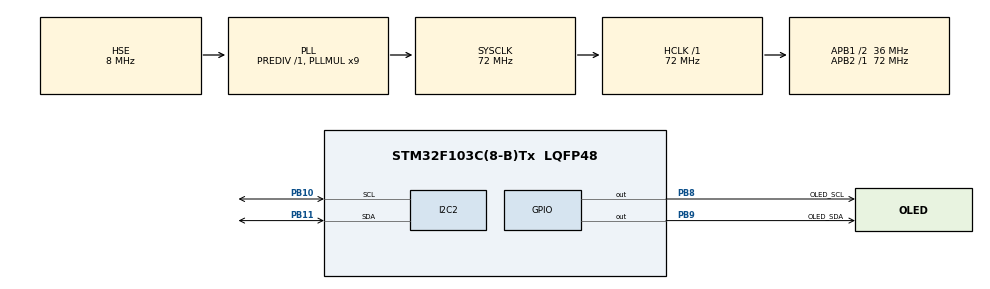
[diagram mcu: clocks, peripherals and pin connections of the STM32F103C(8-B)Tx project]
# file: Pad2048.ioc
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Mcu.Family=STM32F1
Mcu.Name=STM32F103C(8-B)Tx
Mcu.Package=LQFP48
NVIC.PriorityGroup=NVIC_PRIORITYGROUP_4
NVIC.TIM2_IRQn=true\:0\:0\:false\:false\:true\:true\:true\:true
PA0-WKUP.Mode=SYS_WakeUp0
PA0-WKUP.Signal=SYS_WKUP
PA13.Mode=Serial_Wire
PA13.Signal=SYS_JTMS-SWDIO
PA14.Mode=Serial_Wire
PA14.Signal=SYS_JTCK-SWCLK
PB10.Mode=I2C
PB10.Signal=I2C2_SCL
PB11.Mode=I2C
PB11.Signal=I2C2_SDA
PB8.GPIO_Label=OLED_SCL
PB8.GPIO_ModeDefaultOutputPP=GPIO_MODE_OUTPUT_OD
PB8.GPIO_PuPd=GPIO_NOPULL
PB8.Signal=GPIO_Output
PB9.GPIO_Label=OLED_SDA
PB9.GPIO_ModeDefaultOutputPP=GPIO_MODE_OUTPUT_OD
PB9.GPIO_PuPd=GPIO_NOPULL
PB9.Signal=GPIO_Output
PC14-OSC32_IN.Mode=LSE-External-Oscillator
PC14-OSC32_IN.Signal=RCC_OSC32_IN
PC15-OSC32_OUT.Mode=LSE-External-Oscillator
PC15-OSC32_OUT.Signal=RCC_OSC32_OUT
PD0-OSC_IN.Mode=HSE-External-Oscillator
PD0-OSC_IN.Signal=RCC_OSC_IN
PD1-OSC_OUT.Mode=HSE-External-Oscillator
PD1-OSC_OUT.Signal=RCC_OSC_OUT
ProjectManager.HeapSize=0x200
ProjectManager.StackSize=0x400
ProjectManager.TargetToolchain=Makefile
RCC.AHBFreq_Value=72000000
RCC.APB1CLKDivider=RCC_HCLK_DIV2
RCC.APB1Freq_Value=36000000
RCC.APB1TimFreq_Value=72000000
RCC.APB2Freq_Value=72000000
RCC.APB2TimFreq_Value=72000000
RCC.HCLKFreq_Value=72000000
RCC.PLLMUL=RCC_PLL_MUL9
RCC.PLLSourceVirtual=RCC_PLLSOURCE_HSE
RCC.SYSCLKFreq_VALUE=72000000
RCC.SYSCLKSource=RCC_SYSCLKSOURCE_PLLCLK
RCC.USBFreq_Value=72000000
TIM2.Period=10000-1
TIM2.Prescaler=7200-1
VP_TIM2_VS_ClockSourceINT.Mode=Internal
board=custom

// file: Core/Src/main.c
/* USER CODE BEGIN Header */
/**
  ******************************************************************************
  * @file           : main.c
  * @brief          : Main program body
  ******************************************************************************
  * @attention
  *
  * Copyright (c) 2025 STMicroelectronics.
  * All rights reserved.
  *
  * This software is licensed under terms that can be found in the LICENSE file
  * in the root directory of this software component.
  * If no LICENSE file comes with this software, it is provided AS-IS.
  *
  ******************************************************************************
  */
/* USER CODE END Header */
#include "main.h"

/* USER CODE BEGIN Includes */
#include "oled.h"
#include "gyro.h"
#include "game.h"
/* USER CODE END Includes */

I2C_HandleTypeDef hi2c2;

TIM_HandleTypeDef htim2;

/* USER CODE BEGIN PV */

volatile uint32_t G_TICK = 0;
volatile uint8_t COUNTER_DOWN = 60;

/* USER CODE END PV */

void SystemClock_Config(void);
static void MX_GPIO_Init(void);
static void MX_I2C2_Init(void);
static void MX_TIM2_Init(void);
/* USER CODE BEGIN PFP */
void PWR_EnterSTANDBY(void);
/* USER CODE END PFP */

/* USER CODE BEGIN 0 */
void HAL_TIM_PeriodElapsedCallback(TIM_HandleTypeDef *htim)
{
  if (htim == &htim2)
  {
    G_TICK ++;
    COUNTER_DOWN --;
    if (COUNTER_DOWN == 0)
    {
      OLED_Clear();
      PWR_EnterSTANDBY();
    }
  }
}

/* USER CODE END 0 */

int main(void)
{

  /* MCU Configuration--------------------------------------------------------*/

  /* Reset of all peripherals, Initializes the Flash interface and the Systick. */
  HAL_Init();

  /* Configure the system clock */
  SystemClock_Config();

  /* Initialize all configured peripherals */
  MX_GPIO_Init();
  MX_I2C2_Init();
  MX_TIM2_Init();
  /* USER CODE BEGIN 2 */
  OLED_Init();
  // I2C_HandleTypeDef hi2c2;
  Gyro_Init(&hi2c2);
  Game_Ctx *ctx = (Game_Ctx *)malloc(sizeof(Game_Ctx));
  Game_Init(ctx);
  Game_Display(ctx);
  HAL_TIM_Base_Start_IT(&htim2);
  HAL_PWR_EnableWakeUpPin(PWR_WAKEUP_PIN1);
  __HAL_PWR_CLEAR_FLAG(PWR_FLAG_WU);
  /* USER CODE END 2 */

  /* Infinite loop */
  /* USER CODE BEGIN WHILE */
  while (1)
  {

    Game_GenerateNum(ctx);
    Game_Display(ctx);
    int dir = Gyro_GetDir(&hi2c2);
    COUNTER_DOWN = 60;
    Game_Move(ctx, dir);
    Game_Display(ctx);

    /* USER CODE END WHILE */

  }
}

void SystemClock_Config(void)
{
  RCC_OscInitTypeDef RCC_OscInitStruct = {0};
  RCC_ClkInitTypeDef RCC_ClkInitStruct = {0};

  /** Initializes the RCC Oscillators according to the specified parameters
  * in the RCC_OscInitTypeDef structure.
  */
  RCC_OscInitStruct.OscillatorType = RCC_OSCILLATORTYPE_HSE;
  RCC_OscInitStruct.HSEState = RCC_HSE_ON;
  RCC_OscInitStruct.HSEPredivValue = RCC_HSE_PREDIV_DIV1;
  RCC_OscInitStruct.HSIState = RCC_HSI_ON;
  RCC_OscInitStruct.PLL.PLLState = RCC_PLL_ON;
  RCC_OscInitStruct.PLL.PLLSource = RCC_PLLSOURCE_HSE;
  RCC_OscInitStruct.PLL.PLLMUL = RCC_PLL_MUL9;
  if (HAL_RCC_OscConfig(&RCC_OscInitStruct) != HAL_OK)
  {
    Error_Handler();
  }

  /** Initializes the CPU, AHB and APB buses clocks
  */
  RCC_ClkInitStruct.ClockType = RCC_CLOCKTYPE_HCLK|RCC_CLOCKTYPE_SYSCLK
                              |RCC_CLOCKTYPE_PCLK1|RCC_CLOCKTYPE_PCLK2;
  RCC_ClkInitStruct.SYSCLKSource = RCC_SYSCLKSOURCE_PLLCLK;
  RCC_ClkInitStruct.AHBCLKDivider = RCC_SYSCLK_DIV1;
  RCC_ClkInitStruct.APB1CLKDivider = RCC_HCLK_DIV2;
  RCC_ClkInitStruct.APB2CLKDivider = RCC_HCLK_DIV1;

  if (HAL_RCC_ClockConfig(&RCC_ClkInitStruct, FLASH_LATENCY_2) != HAL_OK)
  {
    Error_Handler();
  }
}

static void MX_I2C2_Init(void)
{

  hi2c2.Instance = I2C2;
  hi2c2.Init.ClockSpeed = 100000;
  hi2c2.Init.DutyCycle = I2C_DUTYCYCLE_2;
  hi2c2.Init.OwnAddress1 = 0;
  hi2c2.Init.AddressingMode = I2C_ADDRESSINGMODE_7BIT;
  hi2c2.Init.DualAddressMode = I2C_DUALADDRESS_DISABLE;
  hi2c2.Init.OwnAddress2 = 0;
  hi2c2.Init.GeneralCallMode = I2C_GENERALCALL_DISABLE;
  hi2c2.Init.NoStretchMode = I2C_NOSTRETCH_DISABLE;
  if (HAL_I2C_Init(&hi2c2) != HAL_OK)
  {
    Error_Handler();
  }

}

static void MX_TIM2_Init(void)
{

  TIM_ClockConfigTypeDef sClockSourceConfig = {0};
  TIM_MasterConfigTypeDef sMasterConfig = {0};

  htim2.Instance = TIM2;
  htim2.Init.Prescaler = 7200-1;
  htim2.Init.CounterMode = TIM_COUNTERMODE_UP;
  htim2.Init.Period = 10000-1;
  htim2.Init.ClockDivision = TIM_CLOCKDIVISION_DIV1;
  htim2.Init.AutoReloadPreload = TIM_AUTORELOAD_PRELOAD_DISABLE;
  if (HAL_TIM_Base_Init(&htim2) != HAL_OK)
  {
    Error_Handler();
  }
  sClockSourceConfig.ClockSource = TIM_CLOCKSOURCE_INTERNAL;
  if (HAL_TIM_ConfigClockSource(&htim2, &sClockSourceConfig) != HAL_OK)
  {
    Error_Handler();
  }
  sMasterConfig.MasterOutputTrigger = TIM_TRGO_RESET;
  sMasterConfig.MasterSlaveMode = TIM_MASTERSLAVEMODE_DISABLE;
  if (HAL_TIMEx_MasterConfigSynchronization(&htim2, &sMasterConfig) != HAL_OK)
  {
    Error_Handler();
  }

}

static void MX_GPIO_Init(void)
{
  GPIO_InitTypeDef GPIO_InitStruct = {0};

  /* GPIO Ports Clock Enable */
  __HAL_RCC_GPIOC_CLK_ENABLE();
  __HAL_RCC_GPIOD_CLK_ENABLE();
  __HAL_RCC_GPIOA_CLK_ENABLE();
  __HAL_RCC_GPIOB_CLK_ENABLE();

  /*Configure GPIO pin Output Level */
  HAL_GPIO_WritePin(GPIOB, OLED_SCL_Pin|OLED_SDA_Pin, GPIO_PIN_RESET);

  /*Configure GPIO pins : OLED_SCL_Pin OLED_SDA_Pin */
  GPIO_InitStruct.Pin = OLED_SCL_Pin|OLED_SDA_Pin;
  GPIO_InitStruct.Mode = GPIO_MODE_OUTPUT_OD;
  GPIO_InitStruct.Pull = GPIO_NOPULL;
  GPIO_InitStruct.Speed = GPIO_SPEED_FREQ_LOW;
  HAL_GPIO_Init(GPIOB, &GPIO_InitStruct);

}

/* USER CODE BEGIN 4 */
void PWR_EnterSTANDBY(void)
{
  __HAL_RCC_PWR_CLK_ENABLE();
  HAL_PWR_EnterSTANDBYMode();
}
/* USER CODE END 4 */

void Error_Handler(void)
{
  __disable_irq();
  while (1)
  {
  }
}
